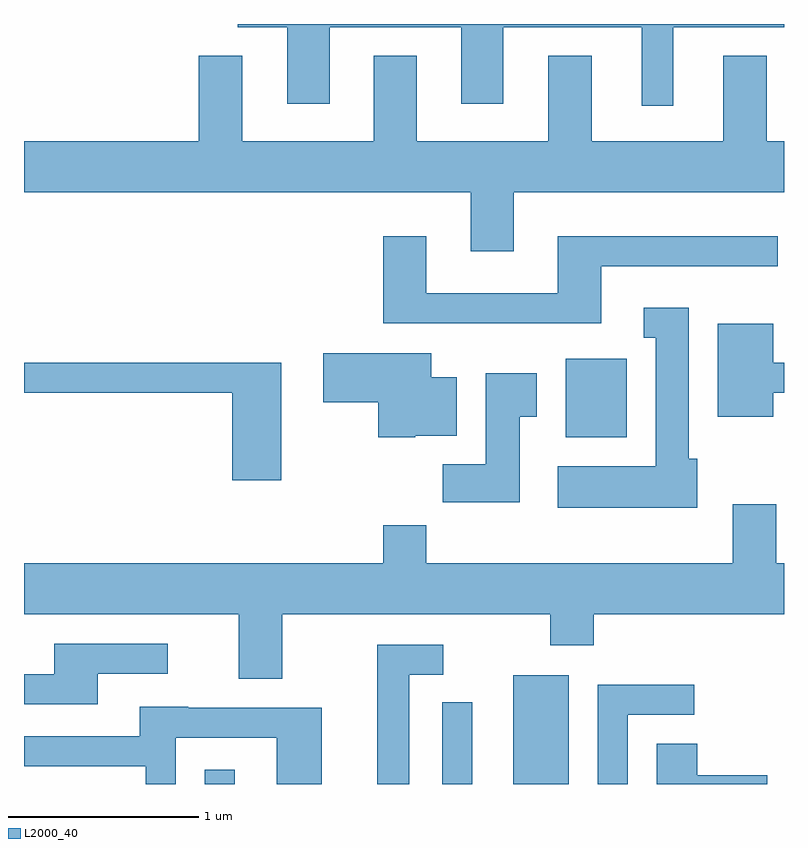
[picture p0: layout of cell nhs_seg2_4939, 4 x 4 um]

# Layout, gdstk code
import gdstk
lib = gdstk.Library(unit=1e-6, precision=1e-09)
def R(c, l, rs):  # rectangles x0, y0, x1, y1
    for r in rs: c.add(gdstk.rectangle(r[:2], r[2:], *l))
def P(c, l, *ps):  # polygons
    for p in ps: c.add(gdstk.Polygon(p, *l))
L2000_40 = (2000, 40)

nhs_seg2_4939 = lib.new_cell('nhs_seg2_4939')
R(nhs_seg2_4939, L2000_40, [(330.561,1111.802,330.719,1111.878), (331.811,1111.802,331.969,1112.233), (332.186,1111.802,332.479,1112.374), (332.461,1113.626,332.784,1114.039)])
P(nhs_seg2_4939, L2000_40, [(333.029,1115.786),(333.611,1115.786),(333.611,1115.802),(330.736,1115.802),(330.736,1115.786),(330.996,1115.786),(330.996,1115.381),(331.219,1115.381),(331.219,1115.786),(331.911,1115.786),(331.911,1115.381),(332.134,1115.381),(332.134,1115.786),(332.861,1115.786),(332.861,1115.373),(333.029,1115.373)],
  [(332.189,1114.916),(333.611,1114.916),(333.611,1115.184),(333.519,1115.184),(333.519,1115.634),(333.291,1115.634),(333.291,1115.184),(332.599,1115.184),(332.599,1115.634),(332.371,1115.634),(332.371,1115.184),(331.679,1115.184),(331.679,1115.634),(331.451,1115.634),(331.451,1115.184),(330.759,1115.184),(330.759,1115.634),(330.531,1115.634),(330.531,1115.184),(329.611,1115.184),(329.611,1114.916),(331.961,1114.916),(331.961,1114.606),(332.189,1114.606)],
  [(332.649,1114.526),(333.578,1114.526),(333.578,1114.684),(332.421,1114.684),(332.421,1114.384),(331.729,1114.384),(331.729,1114.684),(331.501,1114.684),(331.501,1114.226),(332.649,1114.226)],
  [(333.154,1113.514),(333.109,1113.514),(333.109,1114.309),(332.873,1114.309),(332.873,1114.151),(332.936,1114.151),(332.936,1113.474),(332.421,1113.474),(332.421,1113.256),(333.154,1113.256)],
  [(333.554,1113.861),(333.611,1113.861),(333.611,1114.019),(333.554,1114.019),(333.554,1114.224),(333.261,1114.224),(333.261,1113.736),(333.554,1113.736)],
  [(331.67,1113.636),(331.889,1113.636),(331.889,1113.944),(331.754,1113.944),(331.754,1114.069),(331.186,1114.069),(331.186,1113.811),(331.476,1113.811),(331.476,1113.626),(331.67,1113.626)],
  [(330.964,1114.019),(329.611,1114.019),(329.611,1113.861),(330.706,1113.861),(330.706,1113.401),(330.964,1113.401)],
  [(332.219,1113.736),(332.309,1113.736),(332.309,1113.964),(332.041,1113.964),(332.041,1113.484),(331.816,1113.484),(331.816,1113.286),(332.219,1113.286)],
  [(332.381,1112.531),(332.609,1112.531),(332.609,1112.696),(333.611,1112.696),(333.611,1112.964),(333.569,1112.964),(333.569,1113.274),(333.341,1113.274),(333.341,1112.964),(331.729,1112.964),(331.729,1113.164),(331.501,1113.164),(331.501,1112.964),(329.611,1112.964),(329.611,1112.696),(330.741,1112.696),(330.741,1112.356),(330.969,1112.356),(330.969,1112.696),(332.381,1112.696)],
  [(329.999,1112.381),(330.368,1112.381),(330.368,1112.539),(329.771,1112.539),(329.771,1112.379),(329.611,1112.379),(329.611,1112.221),(329.999,1112.221)],
  [(331.639,1112.376),(331.818,1112.376),(331.818,1112.534),(331.471,1112.534),(331.471,1111.802),(331.639,1111.802)],
  [(332.789,1112.166),(333.138,1112.166),(333.138,1112.324),(332.631,1112.324),(332.631,1111.802),(332.789,1111.802)],
  [(330.409,1112.046),(330.941,1112.046),(330.941,1111.802),(331.179,1111.802),(331.179,1112.204),(330.475,1112.204),(330.475,1112.209),(330.221,1112.209),(330.221,1112.054),(329.611,1112.054),(329.611,1111.896),(330.251,1111.896),(330.251,1111.802),(330.409,1111.802)],
  [(333.524,1111.849),(333.154,1111.849),(333.154,1112.014),(332.941,1112.014),(332.941,1111.802),(333.524,1111.802)])

lib.write_gds('nhs_seg2_4939.gds')
